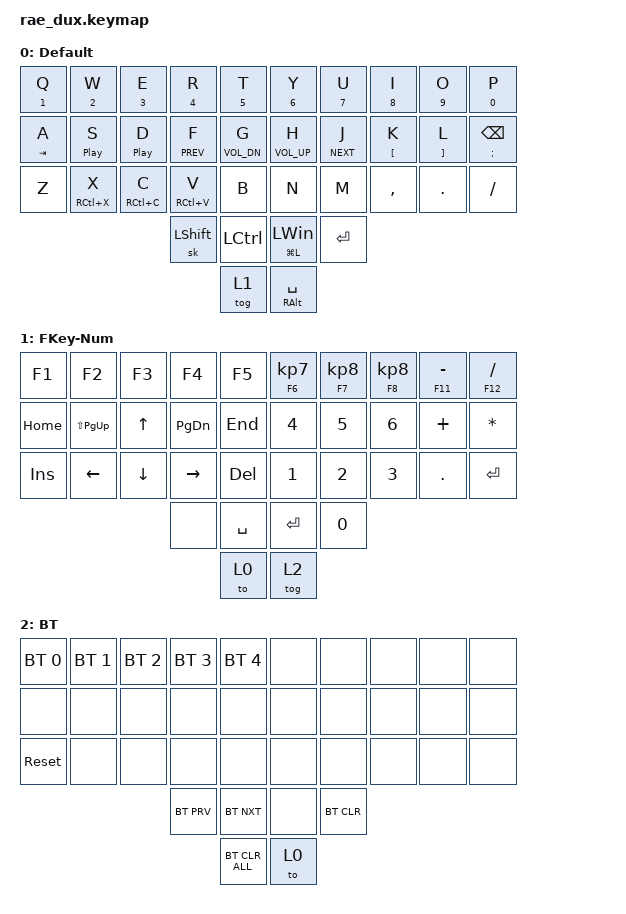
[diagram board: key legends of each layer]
#include <behaviors.dtsi>
#include <dt-bindings/zmk/bt.h>
#include <dt-bindings/zmk/keys.h>

/ {
    keymap {
        compatible = "zmk,keymap";

        Default {
            bindings = <
&mt NUMBER_1 Q  &mt NUMBER_2 W      &mt NUMBER_3 E      &mt NUMBER_4 R  &mt N5 T          &mt NUMBER_6 Y       &mt N7 U      &mt N8 I            &mt N9 O             &mt N0 P
&mt TAB A       &mt C_PLAY_PAUSE S  &mt C_PLAY_PAUSE D  &mt K_PREV F    &mt C_VOL_DN G    &mt C_VOL_UP H       &mt C_NEXT J  &mt LEFT_BRACKET K  &mt RIGHT_BRACKET L  &mt SEMICOLON BACKSPACE
&kp Z           &mt RC(X) X         &mt RC(C) C         &mt RC(V) V     &kp B             &kp N                &kp M         &kp COMMA           &kp DOT              &kp FSLH
                                                        &sk LEFT_SHIFT  &kp LCTRL         &mt LG(L) LWIN       &kp ENTER
                                                                        &tog 1            &mt RIGHT_ALT SPACE
            >;
        };

        FKey-Num {
            bindings = <
&kp F1    &kp F2           &kp F3        &kp F4         &kp F5        &mt F6 KP_NUMBER_7  &mt F7 KP_NUMBER_8  &mt F8 KP_NUMBER_8  &mt F11 MINUS  &mt F12 SLASH
&kp HOME  &kp LS(PAGE_UP)  &kp UP_ARROW  &kp PAGE_DOWN  &kp END       &kp N4              &kp N5              &kp N6              &kp PLUS       &kp STAR
&kp INS   &kp LEFT         &kp DOWN      &kp RIGHT      &kp DELETE    &kp N1              &kp N2              &kp N3              &kp DOT        &kp RET
                                         &none          &kp SPACE     &kp ENTER           &kp N0
                                                        &to 0         &tog 2
            >;
        };

        BT {
            bindings = <
&bt BT_SEL 0  &bt BT_SEL 1  &bt BT_SEL 2  &bt BT_SEL 3  &bt BT_SEL 4      &none  &none       &none  &none  &none
&none         &none         &none         &none         &none             &none  &none       &none  &none  &none
&sys_reset    &none         &none         &none         &none             &none  &none       &none  &none  &none
                                          &bt BT_PRV    &bt BT_NXT        &none  &bt BT_CLR
                                                        &bt BT_CLR_ALL    &to 0
            >;
        };
    };
};
